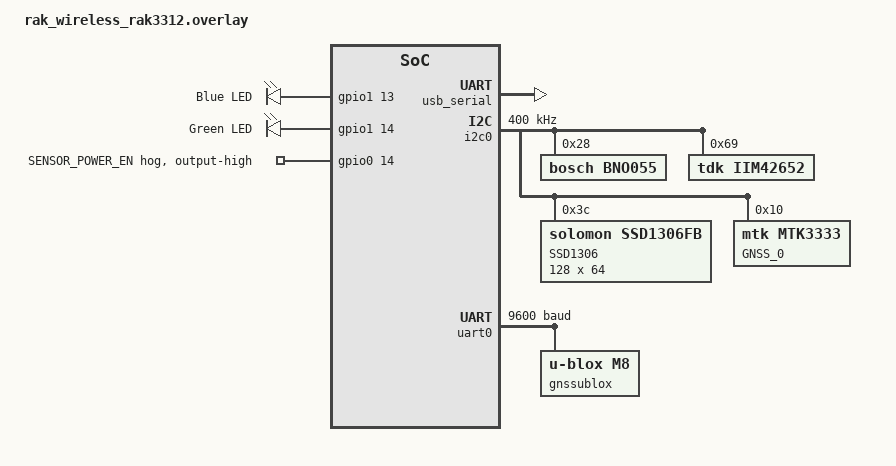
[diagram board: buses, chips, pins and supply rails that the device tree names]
#include <zephyr/dt-bindings/led/led.h>
/ {
	chosen {
		zephyr,console = &usb_serial;
		zephyr,shell-uart = &usb_serial;
	};
    aliases {
        my-green-led = &green_led;
        my-blue-led = &blue_led;
        gnss = &gnssnode;
        ubloxgnss = &gnssublox;
    };
    leds {
		compatible = "gpio-leds";
		blue_led: led_0 {
			gpios = <&gpio1 13 GPIO_ACTIVE_HIGH>; /* G45 */
			label = "Blue LED";
		};
		green_led: led_1 {
			gpios = <&gpio1 14 GPIO_ACTIVE_HIGH>; /* G46 */
			label = "Green LED";
		};
	};
};

&usb_serial {
	status = "okay";
};
&gpio1 {
	status = "okay";
};

&gpio0 {
    status = "okay";
     /*
     * Needed to power the sensor slot A ( and possibly B , C and D )
     */
    sensor_slot_power: sensor-slot-power {
        gpio-hog;
        gpios = <14 GPIO_ACTIVE_HIGH>;
        output-high;
        line-name = "SENSOR_POWER_EN";
    };
};



&i2c0 {
	status = "okay";
	pinctrl-0 = <&i2c0_default>;
	pinctrl-names = "default";
	clock-frequency = <I2C_BITRATE_FAST>;
    bno055: bno055@28 {
        compatible = "bosch,bno055";
        reg = <0x28>;
        use_xtal;
        zephyr,deferred-init;
    };
    iim42652: iim42652@69 {
        compatible = "tdk,iim42652";
        reg = <0x69>;
        zephyr,deferred-init;
    };
    ssd1306: ssd1306@3c {
        compatible = "solomon,ssd1306fb";
        reg = <0x3c>;
        width = <128>;
        height = <64>;

        segment-offset = <0>;
        page-offset = <0>;
        display-offset = <0>;
        multiplex-ratio = <63>;
        prechargep = <0x22>;
        label = "SSD1306";
        ready-time-ms = <1000>;
        segment-remap;
        com-invdir;
    };
    gnssnode: gnss@10 {
        compatible = "mtk,mtk3333";
        reg = <0x10>;
        label = "GNSS_0";
        status = "okay";
    };
};

&uart0 {
    status = "okay";
    current-speed = <9600>;
    gnssublox: u_blox_m10 {
        status = "okay";
        compatible = "u-blox,m8";
        initial-baudrate = <9600>;
    };
};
